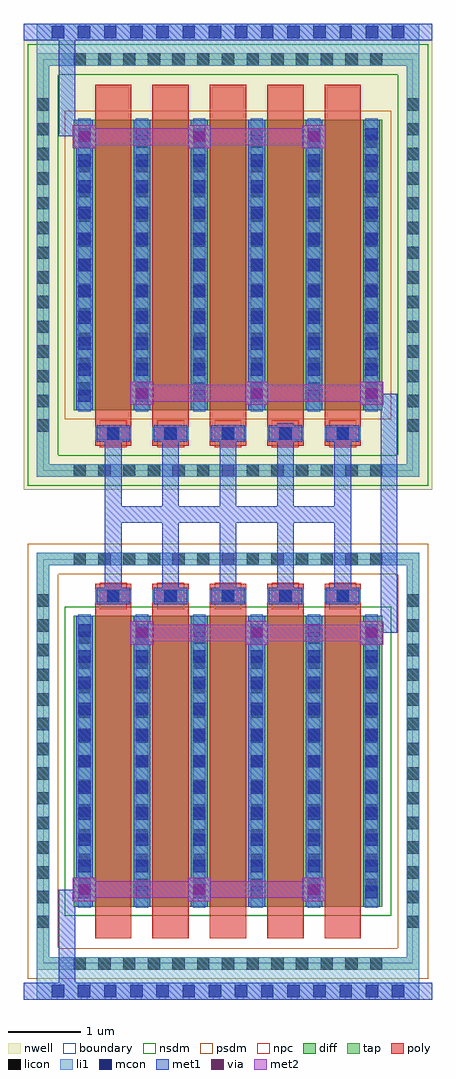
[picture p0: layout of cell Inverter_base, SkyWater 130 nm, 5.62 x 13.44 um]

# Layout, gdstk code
import gdstk
lib = gdstk.Library(unit=1e-6, precision=1e-09)
def R(c, l, rs):  # rectangles x0, y0, x1, y1
    for r in rs: c.add(gdstk.rectangle(r[:2], r[2:], *l))
def A(c, l, x, y, w, h, nx, ny, dx, dy):  # array of equal rectangles
    R(c, l, [(x+i*dx, y+j*dy, x+i*dx+w, y+j*dy+h) for i in range(nx) for j in range(ny)])
nwell = (64, 20)
diff = (65, 20)
tap = (65, 44)
poly = (66, 20)
licon = (66, 44)
li1 = (67, 20)
mcon = (67, 44)
met1 = (68, 20)
via = (68, 44)
met2 = (69, 20)
nsdm = (93, 44)
psdm = (94, 20)
npc = (95, 20)
boundary = (235, 4)

sky130_fd_pr__pfet_01v8_ = lib.new_cell('sky130_fd_pr__pfet_01v8_X45PJH')
R(sky130_fd_pr__pfet_01v8_, nwell, [(-2.81,-3.095,2.81,3.095)])
R(sky130_fd_pr__pfet_01v8_, diff, [(-2.12,-2,2.12,2)])
R(sky130_fd_pr__pfet_01v8_, tap, [(-2.63,-2.915,2.63,-2.745), (-2.63,-2.745,-2.46,2.745), (2.46,-2.745,2.63,2.745), (-2.63,2.745,2.63,2.915)])
A(sky130_fd_pr__pfet_01v8_, poly, -1.83, -2.485, 0.5, 4.97, 5, 1, 0.79, 0)
A(sky130_fd_pr__pfet_01v8_, licon, -2.125, -2.915, 0.17, 0.17, 13, 2, 0.34, 5.66)
A(sky130_fd_pr__pfet_01v8_, licon, -1.665, -2.405, 0.17, 0.17, 5, 1, 0.79, 0)
A(sky130_fd_pr__pfet_01v8_, licon, -2.63, -2.295, 0.17, 0.17, 1, 14, 0, 0.34)
A(sky130_fd_pr__pfet_01v8_, licon, 2.46, -2.295, 0.17, 0.17, 1, 14, 0, 0.34)
A(sky130_fd_pr__pfet_01v8_, licon, -2.06, -1.785, 0.17, 0.17, 6, 11, 0.79, 0.34)
A(sky130_fd_pr__pfet_01v8_, li1, -1.83, -2.405, 0.5, 0.17, 5, 1, 0.79, 0)
A(sky130_fd_pr__pfet_01v8_, li1, -2.06, -2.02, 0.17, 4.04, 6, 1, 0.79, 0)
R(sky130_fd_pr__pfet_01v8_, li1, [(-2.63,-2.915,2.63,-2.745), (-2.63,-2.745,-2.46,2.745), (2.46,-2.745,2.63,2.745), (-2.63,2.745,2.63,2.915)])
A(sky130_fd_pr__pfet_01v8_, mcon, -1.665, -2.405, 0.17, 0.17, 5, 1, 0.79, 0)
A(sky130_fd_pr__pfet_01v8_, mcon, -2.06, -1.885, 0.17, 0.17, 6, 11, 0.79, 0.36)
A(sky130_fd_pr__pfet_01v8_, met1, -1.81, -2.435, 0.46, 0.23, 5, 1, 0.79, 0)
A(sky130_fd_pr__pfet_01v8_, met1, -2.09, -2, 0.23, 4, 6, 1, 0.79, 0)
R(sky130_fd_pr__pfet_01v8_, nsdm, [(-2.755,-3.04,2.755,-2.62), (-2.755,-2.62,-2.335,2.62), (2.335,-2.62,2.755,2.62), (-2.755,2.62,2.755,3.04)])
R(sky130_fd_pr__pfet_01v8_, psdm, [(-2.245,-2.125,2.245,2.125)])
A(sky130_fd_pr__pfet_01v8_, npc, -1.765, -2.505, 0.37, 0.37, 5, 1, 0.79, 0)
R(sky130_fd_pr__pfet_01v8_, boundary, [(-2.545,-2.83,2.545,2.83)])

sky130_fd_pr__nfet_01v8_ = lib.new_cell('sky130_fd_pr__nfet_01v8_TEWFY7')
R(sky130_fd_pr__nfet_01v8_, diff, [(-2.12,-2,2.12,2)])
R(sky130_fd_pr__nfet_01v8_, tap, [(-2.63,-2.87,2.63,-2.7), (-2.63,-2.7,-2.46,2.7), (2.46,-2.7,2.63,2.7), (-2.63,2.7,2.63,2.87)])
A(sky130_fd_pr__nfet_01v8_, poly, -1.83, -2.44, 0.5, 4.88, 5, 1, 0.79, 0)
A(sky130_fd_pr__nfet_01v8_, licon, -2.125, -2.87, 0.17, 0.17, 13, 2, 0.34, 5.57)
A(sky130_fd_pr__nfet_01v8_, licon, -2.63, -2.295, 0.17, 0.17, 1, 14, 0, 0.34)
A(sky130_fd_pr__nfet_01v8_, licon, 2.46, -2.295, 0.17, 0.17, 1, 14, 0, 0.34)
A(sky130_fd_pr__nfet_01v8_, licon, -2.06, -1.785, 0.17, 0.17, 6, 11, 0.79, 0.34)
A(sky130_fd_pr__nfet_01v8_, licon, -1.665, 2.19, 0.17, 0.17, 5, 1, 0.79, 0)
A(sky130_fd_pr__nfet_01v8_, li1, -2.06, -2.02, 0.17, 4.04, 6, 1, 0.79, 0)
A(sky130_fd_pr__nfet_01v8_, li1, -1.83, 2.19, 0.5, 0.17, 5, 1, 0.79, 0)
R(sky130_fd_pr__nfet_01v8_, li1, [(-2.63,-2.87,2.63,-2.7), (-2.63,-2.7,-2.46,2.7), (2.46,-2.7,2.63,2.7), (-2.63,2.7,2.63,2.87)])
A(sky130_fd_pr__nfet_01v8_, mcon, -2.06, -1.885, 0.17, 0.17, 6, 11, 0.79, 0.36)
A(sky130_fd_pr__nfet_01v8_, mcon, -1.665, 2.19, 0.17, 0.17, 5, 1, 0.79, 0)
A(sky130_fd_pr__nfet_01v8_, met1, -2.09, -2, 0.23, 4, 6, 1, 0.79, 0)
A(sky130_fd_pr__nfet_01v8_, met1, -1.81, 2.16, 0.46, 0.23, 5, 1, 0.79, 0)
R(sky130_fd_pr__nfet_01v8_, nsdm, [(-2.245,-2.125,2.245,2.125)])
R(sky130_fd_pr__nfet_01v8_, psdm, [(-2.755,-2.995,2.755,-2.575), (-2.755,-2.575,-2.335,2.575), (2.335,-2.575,2.755,2.575), (-2.755,2.575,2.755,2.995)])
A(sky130_fd_pr__nfet_01v8_, npc, -1.765, 2.09, 0.37, 0.37, 5, 1, 0.79, 0)
R(sky130_fd_pr__nfet_01v8_, boundary, [(-2.54,-2.78,2.54,2.78)])

inverter_base = lib.new_cell('Inverter_base')
R(inverter_base, li1, [(0.365,-6.4,5.625,-5.82), (0.365,6.455,5.625,7.035)])
A(inverter_base, mcon, 0.57, -6.37, 0.17, 0.17, 14, 2, 0.36, 13.205)
A(inverter_base, met1, 1.3, -0.96, 0.23, 1.12, 3, 1, 0.79, 0)
A(inverter_base, met1, 1.3, 0.39, 0.23, 1.115, 3, 1, 0.79, 0)
R(inverter_base, met1, [(0.185,-6.4,5.805,-6.17), (0.665,-6.17,0.895,-5.12), (0.665,-5.12,0.905,-5.045), (0.665,-5.045,1.18,-4.89), (2.44,-5.045,2.76,-4.725), (4.02,-5.045,4.34,-4.725), (0.86,-4.89,1.18,-4.725), (1.65,-1.515,1.97,-1.195), (3.23,-1.515,3.55,-1.195), (4.81,-1.515,5.13,-1.35), (4.81,-1.35,5.325,-1.195), (5.085,-1.195,5.325,-1.12), (5.095,-1.12,5.325,1.71), (3.67,-0.93,3.9,0.16), (4.46,-0.93,4.69,0.16), (1.3,0.16,4.69,0.39), (3.67,0.39,3.9,1.535), (4.46,0.39,4.69,1.505), (5.085,1.71,5.325,1.785), (1.65,1.785,1.97,2.105), (3.23,1.785,3.55,2.105), (4.81,1.785,5.325,1.94), (4.81,1.94,5.13,2.105), (0.86,5.315,1.18,5.48), (2.44,5.315,2.76,5.635), (4.02,5.315,4.34,5.635), (0.665,5.48,1.18,5.635), (0.665,5.635,0.905,5.71), (0.665,5.71,0.895,6.805), (0.185,6.805,5.805,7.035)])
A(inverter_base, via, 0.945, -4.96, 0.15, 0.15, 3, 2, 1.58, 10.36)
A(inverter_base, via, 1.735, -1.43, 0.15, 0.15, 3, 2, 1.58, 3.3)
A(inverter_base, met2, 0.86, -5.045, 0.32, 0.045, 3, 2, 1.58, 0.275)
A(inverter_base, met2, 1.65, -1.515, 0.32, 0.045, 3, 2, 1.58, 0.275)
A(inverter_base, met2, 1.65, 1.785, 0.32, 0.045, 3, 2, 1.58, 0.275)
A(inverter_base, met2, 0.86, 5.315, 0.32, 0.045, 3, 2, 1.58, 0.275)
R(inverter_base, met2, [(0.86,-5,4.34,-4.77), (1.65,-1.47,5.13,-1.24), (1.65,1.83,5.13,2.06), (0.86,5.36,4.34,5.59)])
inverter_base.add(gdstk.Reference(sky130_fd_pr__pfet_01v8_, (2.995,3.71)))
inverter_base.add(gdstk.Reference(sky130_fd_pr__nfet_01v8_, (2.995,-3.12)))

lib.write_gds('Inverter_base.gds')
